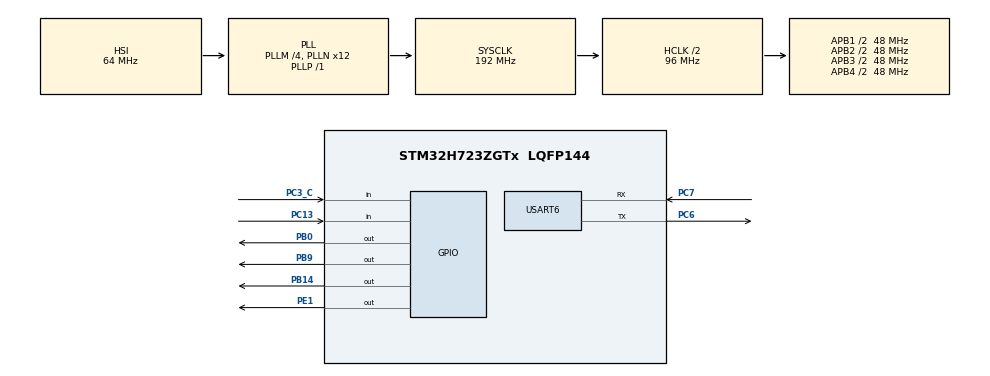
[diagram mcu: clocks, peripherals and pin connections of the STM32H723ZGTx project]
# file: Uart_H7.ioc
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CORTEX_M7.default_mode_Activation=1
Mcu.Family=STM32H7
Mcu.Name=STM32H723ZGTx
Mcu.Package=LQFP144
NUCLEO-H723ZG.BUTTON=1
NUCLEO-H723ZG.LD1=true
NUCLEO-H723ZG.LD2=true
NUCLEO-H723ZG.LD3=true
NUCLEO-H723ZG.VCP=true
NVIC.EXTI15_10_IRQn=true\:0\:0\:false\:false\:true\:false\:true\:true
NVIC.PriorityGroup=NVIC_PRIORITYGROUP_4
NVIC.USART6_IRQn=true\:0\:0\:false\:false\:true\:true\:true\:true
PA13(JTMS/SWDIO).GPIO_Label=SWDIO
PA13(JTMS/SWDIO).Signal=DEBUG_JTMS-SWDIO
PA14(JTCK/SWCLK).GPIO_Label=SWCLK
PA14(JTCK/SWCLK).Signal=DEBUG_JTCK-SWCLK
PB0.Signal=GPIO_Output
PB14.Signal=GPIO_Output
PB9.Signal=GPIO_Output
PC13.Signal=GPIO_Input
PC14-OSC32_IN.Signal=RCC_OSC32_IN
PC15-OSC32_OUT.Signal=RCC_OSC32_OUT
PC3_C.Signal=GPIO_Input
PC6.Mode=Asynchronous
PC6.Signal=USART6_TX
PC7.Mode=Asynchronous
PC7.Signal=USART6_RX
PD8.Signal=USART3_TX
PD9.Signal=USART3_RX
PE1.Signal=GPIO_Output
ProjectManager.HeapSize=0x200
ProjectManager.StackSize=0x400
ProjectManager.TargetToolchain=STM32CubeIDE
RCC.ADCFreq_Value=608000000
RCC.APB1Freq_Value=48000000
RCC.APB2Freq_Value=48000000
RCC.APB3Freq_Value=48000000
RCC.APB4Freq_Value=48000000
RCC.CortexFreq_Value=192000000
RCC.D1PPRE=RCC_APB3_DIV2
RCC.D2PPRE1=RCC_APB1_DIV2
RCC.D2PPRE2=RCC_APB2_DIV2
RCC.D3PPRE=RCC_APB4_DIV2
RCC.DIVM1=4
RCC.DIVM2=1
RCC.DIVN1=12
RCC.DIVN2=19
RCC.DIVP1=1
RCC.DIVQ1=4
RCC.HCLKFreq_Value=96000000
RCC.HPRE=RCC_HCLK_DIV2
RCC.HSE_VALUE=8000000
RCC.PLLFRACN=0
RCC.SYSCLKFreq_VALUE=192000000
RCC.SYSCLKSource=RCC_SYSCLKSOURCE_PLLCLK
RCC.USBCLockSelection=RCC_USBCLKSOURCE_HSI48
RCC.USBFreq_Value=48000000
USART6.VirtualMode-Asynchronous=VM_ASYNC
VP_MEMORYMAP_VS_MEMORYMAP.Mode=CurAppReg
VP_NUCLEO-H723ZG_VS_BSP_COMMON.Mode=COMMON
board=NUCLEO-H723ZG

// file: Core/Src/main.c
/* USER CODE BEGIN Header */
/**
  ******************************************************************************
  * @file           : main.c
  * @brief          : Main program body
  ******************************************************************************
  * @attention
  *
  * Copyright (c) 2025 STMicroelectronics.
  * All rights reserved.
  *
  * This software is licensed under terms that can be found in the LICENSE file
  * in the root directory of this software component.
  * If no LICENSE file comes with this software, it is provided AS-IS.
  *
  ******************************************************************************
  */
/* USER CODE END Header */
#include "main.h"

COM_InitTypeDef BspCOMInit;

UART_HandleTypeDef huart6;

void SystemClock_Config(void);
static void MPU_Config(void);
static void MX_GPIO_Init(void);
static void MX_USART6_UART_Init(void);

/* USER CODE BEGIN 0 */
void uartErrorHandling(uint8_t status){
    switch (status) {
//		case 0x01:
//			printf("ACKNOWLEDGE RESPONSE\r\n");
//			break;
        case 0x02:
            printf("READ_FAIL\r\n");
            break;
        case 0x04:
            printf("REGMAP_INVALID_ADDRESS\r\n");
            break;
        case 0x05:
            printf("REGMAP_WRITE_DISABLED\r\n");
            break;
        case 0x06:
            printf("WRONG_START_BYTE\r\n");
            break;
        case 0x07:
            printf("BUS_OVER_RUN_ERROR\r\n");
            break;
        case 0x08:
            printf("MAX_LENGTH_ERROR\r\n");
            break;
        case 0x09:
            printf("MIN_LENGTH_ERROR\r\n");
            break;
        case 0x0A:
            printf("RECEIVE_CHARACTER_TIMEOUT\r\n");
            break;
        default:
            printf("UNKNOWN ERROR CODE\r\n");
            break;
    }

}

void BNO055_ReadEulerAngles() {
    uint8_t read_euler[] = {
        0xAA, // Start byte for read
        0x01, // Read
        0x1A, // Euler data start address
        0x06  // Length (Heading, Roll, Pitch = 3x2 bytes)
    };

    HAL_UART_Transmit(&huart6, read_euler, sizeof(read_euler), 100);
//    HAL_Delay(100);

    uint8_t response[8] = {0};

    HAL_StatusTypeDef indicate = HAL_UART_Receive(&huart6, response, sizeof(response), 1000);
    printf("HAL status for direction: 0x%02X \r\n", indicate);

    if (HAL_UART_Receive(&huart6, response, sizeof(response), 1000)) {

		  printf("Direction Response: ");
		  for (int i = 0; i < 8; i++) {
			  printf("0x%02X ", response[i]);
		  }
		  printf("\r\n");

        if (response[0] == 0xBB) {
            int16_t heading = (int16_t)(response[2] | (response[3] << 8));
            int16_t roll    = (int16_t)(response[4] | (response[5] << 8));
            int16_t pitch   = (int16_t)(response[6] | (response[7] << 8));

            // Data is in 1/16 degrees
            printf("Heading: %.2f°, Roll: %.2f°, Pitch: %.2f°\r\n", heading / 16.0, roll / 16.0, pitch / 16.0);

        } else if (response[0] == 0xEE) {
			uint8_t status = response[1];
			printf("Error Response -> Status Code: 0x%02X\r\n", status);
			uartErrorHandling(status);
        }

    }else{
    	printf("Failed to received response of Direction!");
    }
}

void BNO055_ReadLinearAccel() {
    uint8_t read_accel[] = {
        0xAA, // Start byte for read
        0x01, // Read
        0x28, // LIA_DATA_X_LSB (Linear Acceleration X)
        0x06  // Length (X, Y, Z = 3x2 bytes)
    };
    HAL_UART_Transmit(&huart6, read_accel, sizeof(read_accel), 100);

    uint8_t response[8] = {0};
    HAL_StatusTypeDef indicate = HAL_UART_Receive(&huart6, response, sizeof(response), 1000);
    printf("HAL status for Movement: 0x%02X \r\n", indicate);

    if (HAL_UART_Receive(&huart6, response, sizeof(response), 1000)) {
		  printf("Movement Response: ");
		  for (int i = 0; i < 8; i++) {
			  printf("0x%02X ", response[i]);
		  }

		  printf("\r\n");

        if (response[0] == 0xBB) {
            int16_t x = (int16_t)(response[2] | (response[3] << 8));
            int16_t y = (int16_t)(response[4] | (response[5] << 8));
            int16_t z = (int16_t)(response[6] | (response[7] << 8));

            // Units are in mg, scale by 100 to get m/s²
        printf("Linear Accel X: %.2f, Y: %.2f, Z: %.2f \r\n",x / 100.0, y / 100.0, z / 100.0);

        } else if (response[0] == 0xEE) {
            uint8_t status = response[1];
            printf("Error Response -> Status Code: 0x%02X\r\n", status);
            uartErrorHandling(status);
        }
    }
    else{
    	printf("Failed to received response linear accel!");
    }
}

void ledStateOnButtonTrigger(){
	  if(HAL_GPIO_ReadPin(GPIOC, GPIO_PIN_3) == 0){
		  printf("Button Trigger! \r \n");
		  HAL_GPIO_WritePin(GPIOB, GPIO_PIN_9, GPIO_PIN_SET);
		  printf("Status LED ON.. \r\n");
	  }
	  else{
		  HAL_GPIO_WritePin(GPIOB, GPIO_PIN_9, GPIO_PIN_RESET);
	  }

}

void BNO055_SetToNDOFMode() {
    uint8_t set_opr_mode[] = {
        0xAA, // Start Byte (Write)
        0x00, // Write
        0x3D, // OPR_MODE register
        0x01, // Length
        0x0C  // NDOF mode (Fusion mode)
    };
    HAL_UART_Transmit(&huart6, set_opr_mode, sizeof(set_opr_mode), 100);
    HAL_Delay(50); // wait for mode switch
}
/* USER CODE END 0 */

int main(void)
{

  /* MPU Configuration--------------------------------------------------------*/
  MPU_Config();

  /* MCU Configuration--------------------------------------------------------*/

  /* Reset of all peripherals, Initializes the Flash interface and the Systick. */
  HAL_Init();

  /* Configure the system clock */
  SystemClock_Config();

  /* Initialize all configured peripherals */
  MX_GPIO_Init();
  MX_USART6_UART_Init();

  /* Initialize leds */
  BSP_LED_Init(LED_GREEN);
  BSP_LED_Init(LED_YELLOW);
  BSP_LED_Init(LED_RED);

  /* Initialize USER push-button, will be used to trigger an interrupt each time it's pressed.*/
  BSP_PB_Init(BUTTON_USER, BUTTON_MODE_EXTI);

  /* Initialize COM1 port (115200, 8 bits (7-bit data + 1 stop bit), no parity */
  BspCOMInit.BaudRate   = 115200;
  BspCOMInit.WordLength = COM_WORDLENGTH_8B;
  BspCOMInit.StopBits   = COM_STOPBITS_1;
  BspCOMInit.Parity     = COM_PARITY_NONE;
  BspCOMInit.HwFlowCtl  = COM_HWCONTROL_NONE;
  if (BSP_COM_Init(COM1, &BspCOMInit) != BSP_ERROR_NONE)
  {
    Error_Handler();
  }
/*Mode setup of bno055*/
 BNO055_SetToNDOFMode();
  /* Infinite loop */
  /* USER CODE BEGIN WHILE */
  while (1)
  {

	  BNO055_ReadEulerAngles();
	  printf("\r \n");
	  BNO055_ReadLinearAccel();
	  printf("\r \n");
	  ledStateOnButtonTrigger();
	  HAL_Delay(500);
    /* USER CODE END WHILE */

  }
}

void SystemClock_Config(void)
{
  RCC_OscInitTypeDef RCC_OscInitStruct = {0};
  RCC_ClkInitTypeDef RCC_ClkInitStruct = {0};

  /** Supply configuration update enable
  */
  HAL_PWREx_ConfigSupply(PWR_LDO_SUPPLY);

  /** Configure the main internal regulator output voltage
  */
  __HAL_PWR_VOLTAGESCALING_CONFIG(PWR_REGULATOR_VOLTAGE_SCALE2);

  while(!__HAL_PWR_GET_FLAG(PWR_FLAG_VOSRDY)) {}

  /** Initializes the RCC Oscillators according to the specified parameters
  * in the RCC_OscInitTypeDef structure.
  */
  RCC_OscInitStruct.OscillatorType = RCC_OSCILLATORTYPE_HSI;
  RCC_OscInitStruct.HSIState = RCC_HSI_DIV1;
  RCC_OscInitStruct.HSICalibrationValue = 64;
  RCC_OscInitStruct.PLL.PLLState = RCC_PLL_ON;
  RCC_OscInitStruct.PLL.PLLSource = RCC_PLLSOURCE_HSI;
  RCC_OscInitStruct.PLL.PLLM = 4;
  RCC_OscInitStruct.PLL.PLLN = 12;
  RCC_OscInitStruct.PLL.PLLP = 1;
  RCC_OscInitStruct.PLL.PLLQ = 4;
  RCC_OscInitStruct.PLL.PLLR = 2;
  RCC_OscInitStruct.PLL.PLLRGE = RCC_PLL1VCIRANGE_3;
  RCC_OscInitStruct.PLL.PLLVCOSEL = RCC_PLL1VCOWIDE;
  RCC_OscInitStruct.PLL.PLLFRACN = 0;
  if (HAL_RCC_OscConfig(&RCC_OscInitStruct) != HAL_OK)
  {
    Error_Handler();
  }

  /** Initializes the CPU, AHB and APB buses clocks
  */
  RCC_ClkInitStruct.ClockType = RCC_CLOCKTYPE_HCLK|RCC_CLOCKTYPE_SYSCLK
                              |RCC_CLOCKTYPE_PCLK1|RCC_CLOCKTYPE_PCLK2
                              |RCC_CLOCKTYPE_D3PCLK1|RCC_CLOCKTYPE_D1PCLK1;
  RCC_ClkInitStruct.SYSCLKSource = RCC_SYSCLKSOURCE_PLLCLK;
  RCC_ClkInitStruct.SYSCLKDivider = RCC_SYSCLK_DIV1;
  RCC_ClkInitStruct.AHBCLKDivider = RCC_HCLK_DIV2;
  RCC_ClkInitStruct.APB3CLKDivider = RCC_APB3_DIV2;
  RCC_ClkInitStruct.APB1CLKDivider = RCC_APB1_DIV2;
  RCC_ClkInitStruct.APB2CLKDivider = RCC_APB2_DIV2;
  RCC_ClkInitStruct.APB4CLKDivider = RCC_APB4_DIV2;

  if (HAL_RCC_ClockConfig(&RCC_ClkInitStruct, FLASH_LATENCY_1) != HAL_OK)
  {
    Error_Handler();
  }
}

static void MX_USART6_UART_Init(void)
{

  huart6.Instance = USART6;
  huart6.Init.BaudRate = 115200;
  huart6.Init.WordLength = UART_WORDLENGTH_8B;
  huart6.Init.StopBits = UART_STOPBITS_1;
  huart6.Init.Parity = UART_PARITY_NONE;
  huart6.Init.Mode = UART_MODE_TX_RX;
  huart6.Init.HwFlowCtl = UART_HWCONTROL_NONE;
  huart6.Init.OverSampling = UART_OVERSAMPLING_16;
  huart6.Init.OneBitSampling = UART_ONE_BIT_SAMPLE_DISABLE;
  huart6.Init.ClockPrescaler = UART_PRESCALER_DIV1;
  huart6.AdvancedInit.AdvFeatureInit = UART_ADVFEATURE_NO_INIT;
  if (HAL_UART_Init(&huart6) != HAL_OK)
  {
    Error_Handler();
  }
  if (HAL_UARTEx_SetTxFifoThreshold(&huart6, UART_TXFIFO_THRESHOLD_1_8) != HAL_OK)
  {
    Error_Handler();
  }
  if (HAL_UARTEx_SetRxFifoThreshold(&huart6, UART_RXFIFO_THRESHOLD_1_8) != HAL_OK)
  {
    Error_Handler();
  }
  if (HAL_UARTEx_DisableFifoMode(&huart6) != HAL_OK)
  {
    Error_Handler();
  }

}

static void MX_GPIO_Init(void)
{
  GPIO_InitTypeDef GPIO_InitStruct = {0};

  /* GPIO Ports Clock Enable */
  __HAL_RCC_GPIOC_CLK_ENABLE();
  __HAL_RCC_GPIOA_CLK_ENABLE();
  __HAL_RCC_GPIOB_CLK_ENABLE();

  /*Configure GPIO pin Output Level */
  HAL_GPIO_WritePin(GPIOB, GPIO_PIN_9, GPIO_PIN_RESET);

  /*Configure GPIO pin : PC3 */
  GPIO_InitStruct.Pin = GPIO_PIN_3;
  GPIO_InitStruct.Mode = GPIO_MODE_INPUT;
  GPIO_InitStruct.Pull = GPIO_NOPULL;
  HAL_GPIO_Init(GPIOC, &GPIO_InitStruct);

  /*Configure GPIO pin : PB9 */
  GPIO_InitStruct.Pin = GPIO_PIN_9;
  GPIO_InitStruct.Mode = GPIO_MODE_OUTPUT_PP;
  GPIO_InitStruct.Pull = GPIO_NOPULL;
  GPIO_InitStruct.Speed = GPIO_SPEED_FREQ_LOW;
  HAL_GPIO_Init(GPIOB, &GPIO_InitStruct);

}

 /* MPU Configuration */

void MPU_Config(void)
{
  MPU_Region_InitTypeDef MPU_InitStruct = {0};

  /* Disables the MPU */
  HAL_MPU_Disable();

  /** Initializes and configures the Region and the memory to be protected
  */
  MPU_InitStruct.Enable = MPU_REGION_ENABLE;
  MPU_InitStruct.Number = MPU_REGION_NUMBER0;
  MPU_InitStruct.BaseAddress = 0x0;
  MPU_InitStruct.Size = MPU_REGION_SIZE_4GB;
  MPU_InitStruct.SubRegionDisable = 0x87;
  MPU_InitStruct.TypeExtField = MPU_TEX_LEVEL0;
  MPU_InitStruct.AccessPermission = MPU_REGION_NO_ACCESS;
  MPU_InitStruct.DisableExec = MPU_INSTRUCTION_ACCESS_DISABLE;
  MPU_InitStruct.IsShareable = MPU_ACCESS_SHAREABLE;
  MPU_InitStruct.IsCacheable = MPU_ACCESS_NOT_CACHEABLE;
  MPU_InitStruct.IsBufferable = MPU_ACCESS_NOT_BUFFERABLE;

  HAL_MPU_ConfigRegion(&MPU_InitStruct);
  /* Enables the MPU */
  HAL_MPU_Enable(MPU_PRIVILEGED_DEFAULT);

}

void Error_Handler(void)
{
  __disable_irq();
  while (1)
  {
  }
}
